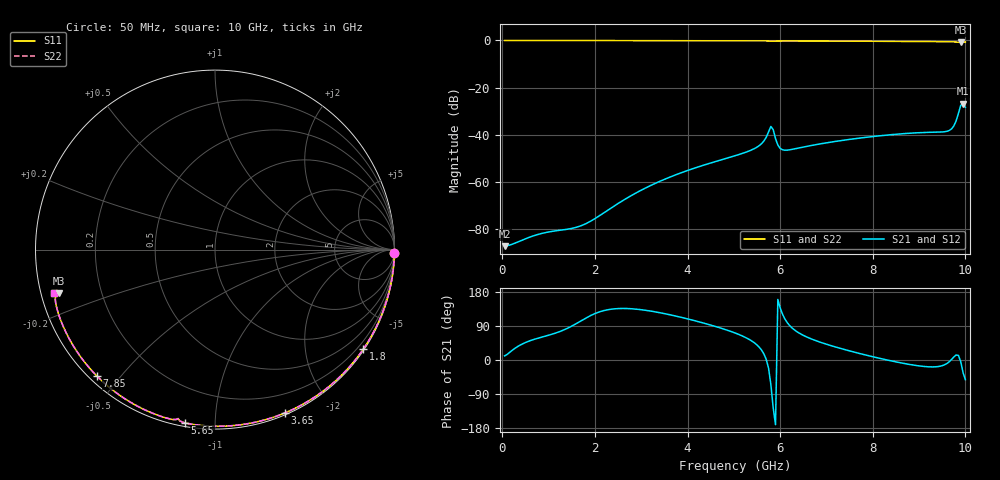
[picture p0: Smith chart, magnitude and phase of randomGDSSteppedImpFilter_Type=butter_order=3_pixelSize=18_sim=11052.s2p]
! freq	dB(S11)	phase(S11)	dB(S12)	phase(S12)
!  dB(S21)	phase(S21)	dB(S22)	phase(S22)
!S-par simulation data
#  GHz  S  DB  R 50
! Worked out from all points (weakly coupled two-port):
!   200 points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, 50 MHz to 10 GHz, reference 50 ohm
!   highest |S21| = -26.81 dB at 9.95 GHz (marker M1); lowest = -87.4 dB at 50 MHz (marker M2)
!   lowest |S11| = -0.9 dB at 9.9 GHz (marker M3), VSWR 20.08, Z = 2.54 - j6.83 ohm
!   |S11| at or under -10 dB: nowhere
!   |S22| runs from -0.9 to 0.0 dB; largest |S21 - S12| = 0
!   S11 on the Smith chart (normalised r, x): 50 MHz: open; 1.8 GHz: 0.03, -3.28; 3.65 GHz: 0.02, -1.52; 5.65 GHz: 0.02, -0.84; 7.85 GHz: 0.02, -0.43; 10 GHz: 0.04, -0.13
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0.05  -0.00 -1.0  -87.42 10.8  -87.42 10.8  -0.00 -1.0
1.45  -0.03 -27.4  -80.07 86.3  -80.07 86.3  -0.03 -27.4
1.75  -0.04 -32.9  -78.35 107.0  -78.35 107.0  -0.04 -32.9
1.8  -0.04 -33.9  -77.91 110.4  -77.91 110.4  -0.04 -33.9
2.75  -0.07 -51.0  -66.32 135.5  -66.32 135.5  -0.07 -51.0
3.4  -0.08 -62.4  -59.88 124.9  -59.88 124.9  -0.08 -62.4
3.65  -0.09 -66.7  -57.83 118.6  -57.83 118.6  -0.09 -66.7
5.05  -0.14 -90.0  -48.85 70.2  -48.85 70.2  -0.14 -90.0
5.45  -0.16 -96.5  -45.90 44.7  -45.90 44.7  -0.16 -96.5
5.65  -0.18 -99.8  -42.70 15.8  -42.70 15.8  -0.18 -99.8
5.8  -0.32 -102.3  -36.54 -65.2  -36.54 -65.2  -0.33 -102.3
5.85  -0.32 -102.3  -37.89 -126.3  -37.89 -126.3  -0.32 -102.3
5.95  -0.22 -103.8  -44.44 159.7  -44.44 159.7  -0.22 -103.8
6.05  -0.21 -105.5  -46.45 121.3  -46.45 121.3  -0.21 -105.5
6.7  -0.23 -115.7  -44.53 54.3  -44.53 54.3  -0.23 -115.7
7.85  -0.32 -133.1  -41.17 13.1  -41.17 13.1  -0.32 -133.1
8.35  -0.37 -140.7  -40.13 -1.1  -40.13 -1.1  -0.37 -140.7
9.65  -0.56 -161.0  -38.27 -4.7  -38.27 -4.7  -0.56 -161.0
9.75  -0.61 -162.7  -36.33 8.0  -36.33 8.0  -0.61 -162.7
9.9  -0.87 -164.4  -27.56 -4.6  -27.56 -4.6  -0.87 -164.4
9.95  -0.79 -164.0  -26.81 -33.5  -26.81 -33.5  -0.79 -164.0
10  -0.65 -164.8  -28.42 -51.9  -28.42 -51.9  -0.66 -164.8
